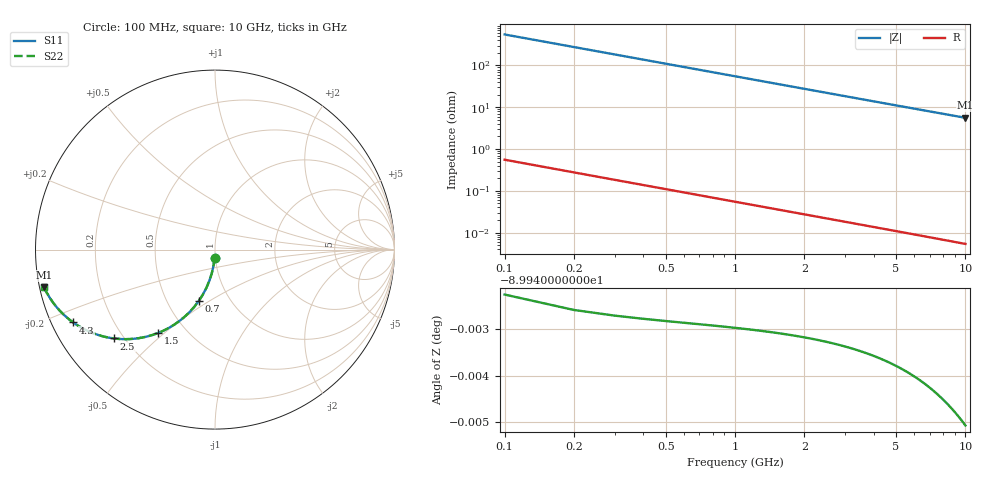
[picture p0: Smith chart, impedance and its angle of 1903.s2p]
# Hz S RI R 50.00
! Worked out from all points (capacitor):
!   100 points, 100 MHz to 10 GHz, reference 50 ohm
!   read as one part in shunt: C = 2.89 pF near 100 MHz
!   lowest |Z| = 5.6 ohm at 10 GHz (marker M1)
!   S11 on the Smith chart (normalised r, x): 100 MHz: 0.99, -0.09; 700 MHz: 0.71, -0.45; 1.5 GHz: 0.35, -0.48; 2.5 GHz: 0.16, -0.37; 4.3 GHz: 0.06, -0.24; 10 GHz: 0.01, -0.11
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1e8  -0.00209 -0.0452  0.9979 -0.0453  0.9979 -0.0453  -0.00209 -0.0452
2e8  -0.00823 -0.0899  0.9917 -0.0899  0.9917 -0.0899  -0.00823 -0.0899
3e8  -0.0183 -0.1334  0.9817 -0.1335  0.9817 -0.1335  -0.0183 -0.1334
4e8  -0.032 -0.1754  0.968 -0.1756  0.968 -0.1756  -0.032 -0.1754
5e8  -0.049 -0.2154  0.9509 -0.2156  0.9509 -0.2156  -0.049 -0.2154
6e8  -0.0691 -0.253  0.9309 -0.2532  0.9309 -0.2532  -0.0691 -0.253
7e8  -0.0917 -0.2879  0.9083 -0.2882  0.9083 -0.2882  -0.0917 -0.2879
9e8  -0.1428 -0.3492  0.8571 -0.3496  0.8571 -0.3496  -0.1428 -0.3492
1.1e9  -0.1992 -0.3987  0.8008 -0.3991  0.8008 -0.3991  -0.1992 -0.3987
1.3e9  -0.2577 -0.4366  0.7423 -0.4372  0.7423 -0.4372  -0.2577 -0.4366
1.5e9  -0.316 -0.4641  0.684 -0.4647  0.684 -0.4647  -0.316 -0.4641
1.8e9  -0.3993 -0.4889  0.6007 -0.4896  0.6007 -0.4896  -0.3993 -0.4889
2.1e9  -0.4747 -0.4984  0.5252 -0.4993  0.5252 -0.4993  -0.4747 -0.4984
2.5e9  -0.5613 -0.4952  0.4387 -0.4963  0.4387 -0.4963  -0.5613 -0.4952
2.9e9  -0.6324 -0.481  0.3676 -0.4823  0.3676 -0.4823  -0.6324 -0.481
3.4e9  -0.7025 -0.4559  0.2975 -0.4574  0.2975 -0.4574  -0.7025 -0.4559
3.8e9  -0.7466 -0.4336  0.2533 -0.4352  0.2533 -0.4352  -0.7466 -0.4336
4.3e9  -0.7903 -0.4057  0.2097 -0.4075  0.2097 -0.4075  -0.7903 -0.4057
5.1e9  -0.8411 -0.364  0.1589 -0.3662  0.1589 -0.3662  -0.8411 -0.364
6.7e9  -0.9011 -0.2966  0.0989 -0.2995  0.0989 -0.2995  -0.9011 -0.2966
8.4e9  -0.9346 -0.2449  0.0654 -0.2486  0.0654 -0.2486  -0.9346 -0.2449
1e10  -0.9529 -0.2092  0.0471 -0.2136  0.0471 -0.2136  -0.9529 -0.2092
